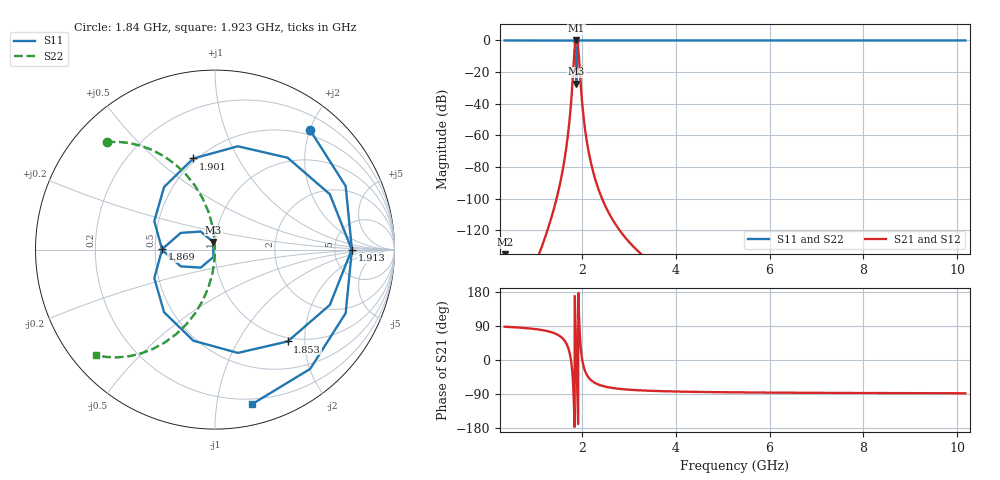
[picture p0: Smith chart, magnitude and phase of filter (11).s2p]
! rf-tools.com
! Date: Thu Jan 30 2020 11:20:12 GMT+0000 (格林尼治标准时间)
# Hz S DB R 50.00
!Frequency  S11 dB  S11 Deg  S21 dB  S21 Deg  S12 dB  S12 Deg  S22 dB  S22 Deg
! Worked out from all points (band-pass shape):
!   2000 points, 347.1 MHz to 10.18 GHz, reference 50 ohm
!   highest |S21| = -0.01 dB at 1.878 GHz (marker M1); lowest = -199.0 dB at 358.4 MHz (marker M2)
!   |S21| within 3 dB of the highest: 1.85 GHz to 1.91 GHz (59.95 MHz wide, 3.19 % of centre)
!   lowest |S11| = -27.4 dB at 1.878 GHz (marker M3), VSWR 1.09, Z = 48.9 + j4.09 ohm
!   |S11| at or under -10 dB: 1.868 GHz to 1.892 GHz (24.16 MHz wide, 1.29 % of centre)
!   |S22| runs from -27.4 to 0.0 dB; largest |S21 - S12| = 0
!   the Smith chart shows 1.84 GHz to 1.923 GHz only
!   S11 on the Smith chart (normalised r, x): 1.84 GHz: 0.42, +2.01; 1.853 GHz: 0.93, -1.66; 1.869 GHz: 0.55, +0.00; 1.901 GHz: 0.48, +0.67; 1.913 GHz: 7.43, -0.08; 1.923 GHz: 0.16, -1.26
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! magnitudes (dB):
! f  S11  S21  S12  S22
! 347.1 MHz  0.0  -  -  0.0
! 358.4 MHz  0.0  -199.0  -199.0  0.0
! 1.586 GHz  0.0  -82.0  -82.0  0.0
! 1.638 GHz  0.0  -72.9  -72.9  0.0
! 1.72 GHz  0.0  -54.0  -54.0  0.0
! 1.767 GHz  0.0  -38.6  -38.6  0.0
! 1.84 GHz  -1.4  -5.6  -5.6  -1.4
! 1.853 GHz  -3.7  -2.4  -2.4  -3.7
! 1.869 GHz  -10.6  -0.4  -0.4  -10.6
! 1.878 GHz  -27.4  0.0  0.0  -27.4
! 1.901 GHz  -5.7  -1.4  -1.4  -5.7
! 1.913 GHz  -2.4  -3.8  -3.8  -2.4
! 1.923 GHz  -1.1  -6.6  -6.6  -1.1
! 1.986 GHz  0.0  -33.9  -33.9  0.0
! 2.096 GHz  0.0  -62.8  -62.8  0.0
! 2.179 GHz  0.0  -76.0  -76.0  0.0
! 2.232 GHz  0.0  -82.5  -82.5  0.0
! 3.625 GHz  0.0  -143.5  -143.5  0.0
! 5.266 GHz  0.0  -167.4  -167.4  0.0
! 6.913 GHz  0.0  -181.8  -181.8  0.0
! 8.553 GHz  0.0  -192.3  -192.3  0.0
! 10.18 GHz  0.0  -  -  0.0
